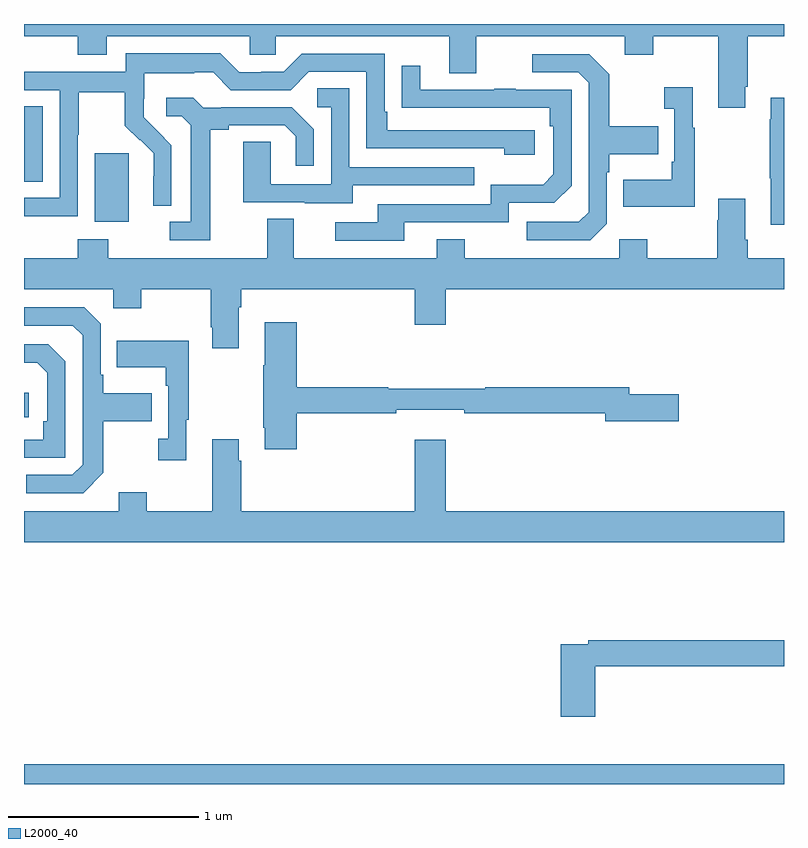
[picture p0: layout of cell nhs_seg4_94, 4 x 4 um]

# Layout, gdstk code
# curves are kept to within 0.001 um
import gdstk
lib = gdstk.Library(unit=1e-6, precision=1e-09)
def R(c, l, rs):  # rectangles x0, y0, x1, y1
    for r in rs: c.add(gdstk.rectangle(r[:2], r[2:], *l))
def P(c, l, *ps):  # polygons
    for p in ps: c.add(gdstk.Polygon(p, *l))
L2000_40 = (2000, 40)

nhs_seg4_94 = lib.new_cell('nhs_seg4_94')
R(nhs_seg4_94, L2000_40, [(115,776.9,119,777.004), (115,778.83,115.024,778.96), (115.373,779.858,115.552,780.219), (115,780.07,115.099,780.467)])
P(nhs_seg4_94, L2000_40, [(118.795,780.571),(118.808,780.571),(118.808,780.836),(119,780.836),(119,780.9),(115,780.9),(115,780.836),(115.283,780.836),(115.283,780.737),(115.435,780.737),(115.435,780.836),(116.187,780.836),(116.187,780.738),(116.325,780.738),(116.325,780.836),(117.239,780.836),(117.239,780.642),(117.379,780.642),(117.379,780.836),(118.163,780.836),(118.163,780.737),(118.311,780.737),(118.311,780.836),(118.655,780.836),(118.655,780.459),(118.795,780.459)],
  [(115.284,780.316),(115.287,780.316),(115.287,780.54),(115.531,780.54),(115.531,780.365),(115.608,780.288),(115.611,780.291),(115.682,780.221),(115.682,780.098),(115.68,780.098),(115.68,779.944),(115.776,779.944),(115.776,780.262),(115.63,780.41),(115.63,780.507),(115.632,780.507),(115.632,780.641),(115.895,780.641),(115.895,780.645),(115.995,780.645),(116.088,780.552),(116.403,780.552),(116.499,780.648),(116.802,780.648),(116.802,780.246),(117.527,780.246),(117.527,780.212),(117.688,780.212),(117.688,780.342),(116.911,780.342),(116.911,780.439),(116.898,780.439),(116.898,780.744),(116.463,780.744),(116.367,780.648),(116.249,780.648),(116.249,780.645),(116.133,780.645),(116.033,780.745),(115.536,780.745),(115.536,780.648),(115,780.648),(115,780.552),(115.188,780.552),(115.188,779.985),(115,779.985),(115,779.887),(115.284,779.887)],
  [(118.068,779.85),(118.068,780.119),(118.081,780.119),(118.081,780.215),(118.337,780.215),(118.337,780.363),(118.081,780.363),(118.081,780.635),(117.975,780.741),(117.675,780.741),(117.675,780.645),(117.918,780.645),(117.972,780.591),(117.972,779.91),(117.921,779.859),(117.645,779.859),(117.645,779.763),(117.981,779.763)],
  [(117.001,779.856),(117.552,779.856),(117.552,779.958),(117.792,779.958),(117.882,780.048),(117.882,780.555),(117.587,780.555),(117.587,780.56),(117.475,780.56),(117.475,780.555),(117.085,780.555),(117.085,780.679),(116.989,780.679),(116.989,780.46),(117.766,780.459),(117.766,780.362),(117.786,780.362),(117.786,780.108),(117.733,780.055),(117.456,780.055),(117.456,779.952),(116.861,779.952),(116.861,779.856),(116.637,779.856),(116.637,779.76),(117.001,779.76)],
  [(118.531,780.355),(118.519,780.355),(118.519,780.568),(118.371,780.568),(118.371,780.455),(118.422,780.455),(118.422,780.175),(118.41,780.175),(118.41,780.079),(118.153,780.079),(118.153,779.939),(118.531,779.939)],
  [(116.731,780.051),(117.371,780.051),(117.371,780.147),(116.712,780.147),(116.712,780.563),(116.544,780.563),(116.544,780.462),(116.616,780.462),(116.616,780.057),(116.298,780.057),(116.298,780.281),(116.153,780.281),(116.153,779.961),(116.477,779.961),(116.477,779.957),(116.731,779.957)],
  [(119,780.511),(118.931,780.511),(118.931,780.398),(118.924,780.398),(118.924,780.087),(118.931,780.087),(118.931,779.844),(119,779.844)],
  [(115.981,780.344),(116.077,780.344),(116.077,780.366),(116.372,780.366),(116.429,780.309),(116.429,780.153),(116.526,780.153),(116.526,780.346),(116.41,780.462),(116.038,780.462),(116.038,780.459),(115.944,780.459),(115.892,780.511),(115.749,780.511),(115.749,780.414),(115.83,780.414),(115.877,780.367),(115.877,779.859),(115.767,779.859),(115.767,779.763),(115.981,779.763)],
  [(116.131,779.408),(116.144,779.408),(116.144,779.504),(117.056,779.504),(117.056,779.316),(117.22,779.316),(117.22,779.504),(119,779.504),(119,779.668),(118.808,779.668),(118.808,779.764),(118.795,779.764),(118.795,779.98),(118.655,779.98),(118.655,779.867),(118.648,779.867),(118.648,779.668),(118.281,779.668),(118.281,779.767),(118.134,779.767),(118.134,779.668),(117.321,779.668),(117.321,779.767),(117.173,779.767),(117.173,779.668),(116.419,779.668),(116.419,779.876),(116.279,779.876),(116.279,779.668),(115.443,779.668),(115.443,779.767),(115.283,779.767),(115.283,779.668),(115,779.668),(115,779.504),(115.47,779.504),(115.47,779.405),(115.617,779.405),(115.617,779.504),(115.984,779.504),(115.984,779.305),(115.991,779.305),(115.991,779.193),(116.131,779.193)],
  [(115.417,778.537),(115.417,778.81),(115.673,778.81),(115.673,778.957),(115.417,778.957),(115.417,779.053),(115.404,779.053),(115.404,779.322),(115.317,779.409),(115,779.409),(115,779.313),(115.257,779.313),(115.308,779.262),(115.308,778.581),(115.254,778.527),(115.011,778.527),(115.011,778.431),(115.311,778.431)],
  [(116.435,778.852),(116.96,778.852),(116.96,778.871),(117.316,778.871),(117.316,778.852),(118.058,778.852),(118.058,778.81),(118.447,778.81),(118.447,778.952),(118.186,778.952),(118.186,778.988),(117.427,778.988),(117.427,778.981),(116.918,778.981),(116.918,778.988),(116.435,778.988),(116.435,779.329),(116.267,779.329),(116.267,779.105),(116.26,779.105),(116.26,778.774),(116.267,778.774),(116.267,778.662),(116.435,778.662)],
  [(115.855,778.817),(115.867,778.817),(115.867,779.233),(115.489,779.233),(115.489,779.093),(115.746,779.093),(115.746,778.997),(115.758,778.997),(115.758,778.718),(115.707,778.718),(115.707,778.605),(115.855,778.605)],
  [(115.218,779.124),(115.128,779.214),(115,779.214),(115,779.117),(115.069,779.117),(115.122,779.064),(115.122,778.81),(115.102,778.81),(115.102,778.713),(115,778.713),(115,778.617),(115.218,778.617)],
  [(119,778.336),(117.22,778.336),(117.22,778.711),(117.056,778.711),(117.056,778.336),(116.144,778.336),(116.144,778.601),(116.131,778.601),(116.131,778.714),(115.991,778.714),(115.991,778.336),(115.647,778.336),(115.647,778.435),(115.499,778.435),(115.499,778.336),(115,778.336),(115,778.172),(119,778.172)],
  [(118.007,777.52),(119,777.52),(119,777.656),(117.97,777.656),(117.97,777.636),(117.824,777.636),(117.824,777.255),(118.007,777.255)])

lib.write_gds('nhs_seg4_94.gds')
